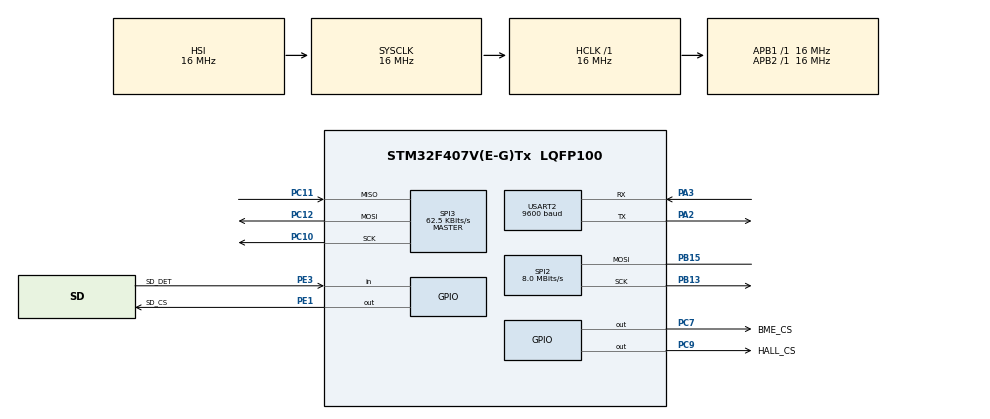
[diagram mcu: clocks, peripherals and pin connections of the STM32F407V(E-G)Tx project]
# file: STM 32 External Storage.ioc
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Mcu.Family=STM32F4
Mcu.Name=STM32F407V(E-G)Tx
Mcu.Package=LQFP100
NVIC.PriorityGroup=NVIC_PRIORITYGROUP_4
PA2.Mode=Asynchronous
PA2.Signal=USART2_TX
PA3.Mode=Asynchronous
PA3.Signal=USART2_RX
PB13.Mode=Simplex_Bidirectional_Master
PB13.Signal=SPI2_SCK
PB15.Mode=Simplex_Bidirectional_Master
PB15.Signal=SPI2_MOSI
PC10.Mode=Full_Duplex_Master
PC10.Signal=SPI3_SCK
PC11.Mode=Full_Duplex_Master
PC11.Signal=SPI3_MISO
PC12.Mode=Full_Duplex_Master
PC12.Signal=SPI3_MOSI
PC7.GPIO_Label=BME_CS
PC7.Signal=GPIO_Output
PC9.GPIO_Label=HALL_CS
PC9.Signal=GPIO_Output
PE1.GPIO_Label=SD_CS
PE1.GPIO_PuPd=GPIO_NOPULL
PE1.Signal=GPIO_Output
PE3.GPIO_Label=SD_DET
PE3.Signal=GPIO_Input
ProjectManager.HeapSize=0x200
ProjectManager.StackSize=0x400
ProjectManager.TargetToolchain=STM32CubeIDE
RCC.AHBFreq_Value=16000000
RCC.APB1Freq_Value=16000000
RCC.APB2Freq_Value=16000000
RCC.CortexFreq_Value=16000000
RCC.HSE_VALUE=25000000
RCC.HSI_VALUE=16000000
RCC.LSE_VALUE=32768
RCC.SYSCLKFreq_VALUE=16000000
RCC.VCOOutputFreq_Value=192000000
RTC.Date=1
RTC.Hours=0
RTC.Minutes=0
RTC.Month=RTC_MONTH_JANUARY
RTC.WeekDay=RTC_WEEKDAY_MONDAY
RTC.Year=0
SPI2.CalculateBaudRate=8.0 MBits/s
SPI2.Direction=SPI_DIRECTION_1LINE
SPI2.Mode=SPI_MODE_MASTER
SPI2.VirtualType=VM_MASTER
SPI3.BaudRatePrescaler=SPI_BAUDRATEPRESCALER_256
SPI3.CLKPhase=SPI_PHASE_1EDGE
SPI3.CLKPolarity=SPI_POLARITY_LOW
SPI3.CalculateBaudRate=62.5 KBits/s
SPI3.DataSize=SPI_DATASIZE_8BIT
SPI3.Direction=SPI_DIRECTION_2LINES
SPI3.Mode=SPI_MODE_MASTER
SPI3.VirtualType=VM_MASTER
USART2.BaudRate=9600
USART2.VirtualMode=VM_ASYNC
VP_FATFS_VS_Generic.Mode=User_defined
VP_RTC_VS_RTC_Activate.Mode=RTC_Enabled
VP_RTC_VS_RTC_Calendar.Mode=RTC_Calendar
board=custom

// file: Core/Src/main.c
/* USER CODE BEGIN Header */
/**
  ******************************************************************************
  * @file           : main.c
  * @brief          : Main program body
  ******************************************************************************
  * @attention
  *
  * <h2><center>&copy; Copyright (c) 2021 STMicroelectronics.
  * All rights reserved.</center></h2>
  *
  * This software component is licensed by ST under BSD 3-Clause license,
  * the "License"; You may not use this file except in compliance with the
  * License. You may obtain a copy of the License at:
  *                        opensource.org/licenses/BSD-3-Clause
  *
  ******************************************************************************
  */
/* USER CODE END Header */
#include "main.h"
#include "fatfs.h"

/* USER CODE BEGIN Includes */
#include <stdio.h>
#include <string.h>
#include <stdarg.h>
#include "sd.h"
#include "rtc.h"
#include "hall.h"
#include "bme.h"
/* USER CODE END Includes */

RTC_HandleTypeDef hrtc;

SPI_HandleTypeDef hspi2;
SPI_HandleTypeDef hspi3;

UART_HandleTypeDef huart2;

/* USER CODE BEGIN PV */
uint8_t alarm = 0;
static uint32_t last_second = 0;
/* USER CODE END PV */

void SystemClock_Config(void);
static void MX_GPIO_Init(void);
static void MX_USART2_UART_Init(void);
static void MX_SPI3_Init(void);
static void MX_RTC_Init(void);
static void MX_SPI2_Init(void);

/* USER CODE BEGIN 0 */
void myprintf(const char *fmt, ...) {
  static char buffer[256];
  va_list args;
  va_start(args, fmt);
  vsnprintf(buffer, sizeof(buffer), fmt, args);
  va_end(args);

  int len = strlen(buffer);
  HAL_UART_Transmit(&huart2, (uint8_t*)buffer, len, -1);
}

void todo_on_alarm(RTC_HandleTypeDef *hrtc, RTC_TimeTypeDef* time, uint16_t hall_data, float temp){
    FATFS FatFs;
    SD_mount(&FatFs);
    char buf[256] = "%02d:%02d:%02d, %d, %.2f\n";
    char buf2[256];
    sprintf(buf2, buf, time->Hours, time->Minutes, time->Seconds, hall_data, temp);
    myprintf("hall: %d | temp: %.2f  ", hall_data, temp);
    int btw = strlen(buf2);
    SD_write("data.csv", FA_READ | FA_WRITE | FA_OPEN_APPEND, buf2, btw);
    SD_unmount();
}

/* USER CODE END 0 */

int main(void)
{

  /* MCU Configuration--------------------------------------------------------*/

  /* Reset of all peripherals, Initializes the Flash interface and the Systick. */
  HAL_Init();

  /* Configure the system clock */
  SystemClock_Config();

  /* Initialize all configured peripherals */
  MX_GPIO_Init();
  MX_FATFS_Init();
  MX_USART2_UART_Init();
  MX_SPI3_Init();
  MX_RTC_Init();
  MX_SPI2_Init();
  /* USER CODE BEGIN 2 */

  HAL_Delay(200);
  BME_init(&hspi3);
  FATFS FatFs;
  SD_mount(&FatFs);

  // Write header
  char buf[256] = "Time, Angle, Temperature\n";
  int btw = strlen(buf);
  UINT bytesWrote;
  bytesWrote = SD_write("data.csv", FA_READ | FA_WRITE | FA_OPEN_ALWAYS | FA_CREATE_ALWAYS, buf, btw);
  myprintf("Wrote %i bytes to 'data.csv'!\r\n", bytesWrote);

  SD_unmount();

  // reset timer to 0
  if(HAL_RTCEx_BKUPRead(&hrtc, RTC_BKP_DR1) != 0x0000){
    rtc_set_time(&hrtc);
  }
  /* USER CODE END 2 */

  /* Infinite loop */
  while (1)
  {

    /* USER CODE BEGIN 3 */
    // uint16_t hall_data;
    // HALL_read(&hspi2, &hall_data);
    // hall_data = hall_data/182;
    // myprintf("data: %d", hall_data);
    // HAL_Delay(500);

    // float temp;
    // temp = BME_readTemperature(&hspi3);
    // myprintf("%.2f   ", temp);
    // HAL_Delay(1000);

    RTC_TimeTypeDef myTime;
    RTC_DateTypeDef myDate;
    rtc_get_time(&hrtc, &myDate, &myTime);
    uint16_t hall_data;
    float temp = 0.0;
    // HAL_Delay(200);
    uint32_t current_second = HAL_GetTick();
    if (current_second - last_second > 1000){
        // 1 second has elapsed, log stuff
        HALL_read(&hspi2, &hall_data);
        hall_data = hall_data/182;
        temp = BME_readTemperature(&hspi3);
        todo_on_alarm(&hrtc, &myTime, hall_data, temp);
        last_second = current_second;
    }
  }
  /* USER CODE END 3 */
}

void SystemClock_Config(void)
{
  RCC_OscInitTypeDef RCC_OscInitStruct = {0};
  RCC_ClkInitTypeDef RCC_ClkInitStruct = {0};

  /** Configure the main internal regulator output voltage
  */
  __HAL_RCC_PWR_CLK_ENABLE();
  __HAL_PWR_VOLTAGESCALING_CONFIG(PWR_REGULATOR_VOLTAGE_SCALE1);
  /** Initializes the RCC Oscillators according to the specified parameters
  * in the RCC_OscInitTypeDef structure.
  */
  RCC_OscInitStruct.OscillatorType = RCC_OSCILLATORTYPE_HSI|RCC_OSCILLATORTYPE_LSI;
  RCC_OscInitStruct.HSIState = RCC_HSI_ON;
  RCC_OscInitStruct.HSICalibrationValue = RCC_HSICALIBRATION_DEFAULT;
  RCC_OscInitStruct.LSIState = RCC_LSI_ON;
  RCC_OscInitStruct.PLL.PLLState = RCC_PLL_NONE;
  if (HAL_RCC_OscConfig(&RCC_OscInitStruct) != HAL_OK)
  {
    Error_Handler();
  }
  /** Initializes the CPU, AHB and APB buses clocks
  */
  RCC_ClkInitStruct.ClockType = RCC_CLOCKTYPE_HCLK|RCC_CLOCKTYPE_SYSCLK
                              |RCC_CLOCKTYPE_PCLK1|RCC_CLOCKTYPE_PCLK2;
  RCC_ClkInitStruct.SYSCLKSource = RCC_SYSCLKSOURCE_HSI;
  RCC_ClkInitStruct.AHBCLKDivider = RCC_SYSCLK_DIV1;
  RCC_ClkInitStruct.APB1CLKDivider = RCC_HCLK_DIV1;
  RCC_ClkInitStruct.APB2CLKDivider = RCC_HCLK_DIV1;

  if (HAL_RCC_ClockConfig(&RCC_ClkInitStruct, FLASH_LATENCY_0) != HAL_OK)
  {
    Error_Handler();
  }
}

static void MX_RTC_Init(void)
{

  RTC_TimeTypeDef sTime = {0};
  RTC_DateTypeDef sDate = {0};

  /** Initialize RTC Only
  */
  hrtc.Instance = RTC;
  hrtc.Init.HourFormat = RTC_HOURFORMAT_24;
  hrtc.Init.AsynchPrediv = 127;
  hrtc.Init.SynchPrediv = 255;
  hrtc.Init.OutPut = RTC_OUTPUT_DISABLE;
  hrtc.Init.OutPutPolarity = RTC_OUTPUT_POLARITY_HIGH;
  hrtc.Init.OutPutType = RTC_OUTPUT_TYPE_OPENDRAIN;
  if (HAL_RTC_Init(&hrtc) != HAL_OK)
  {
    Error_Handler();
  }

  /** Initialize RTC and set the Time and Date
  */
  sTime.Hours = 0x0;
  sTime.Minutes = 0x0;
  sTime.Seconds = 0x0;
  sTime.DayLightSaving = RTC_DAYLIGHTSAVING_NONE;
  sTime.StoreOperation = RTC_STOREOPERATION_RESET;
  if (HAL_RTC_SetTime(&hrtc, &sTime, RTC_FORMAT_BCD) != HAL_OK)
  {
    Error_Handler();
  }
  sDate.WeekDay = RTC_WEEKDAY_MONDAY;
  sDate.Month = RTC_MONTH_JANUARY;
  sDate.Date = 0x1;
  sDate.Year = 0x0;

  if (HAL_RTC_SetDate(&hrtc, &sDate, RTC_FORMAT_BCD) != HAL_OK)
  {
    Error_Handler();
  }
  /* USER CODE BEGIN RTC_Init 2 */
  HAL_RTCEx_BKUPWrite(&hrtc, RTC_BKP_DR1, 0x32F2); // backup register
  /* USER CODE END RTC_Init 2 */

}

static void MX_SPI2_Init(void)
{

  /* SPI2 parameter configuration*/
  hspi2.Instance = SPI2;
  hspi2.Init.Mode = SPI_MODE_MASTER;
  hspi2.Init.Direction = SPI_DIRECTION_1LINE;
  hspi2.Init.DataSize = SPI_DATASIZE_8BIT;
  hspi2.Init.CLKPolarity = SPI_POLARITY_LOW;
  hspi2.Init.CLKPhase = SPI_PHASE_1EDGE;
  hspi2.Init.NSS = SPI_NSS_SOFT;
  hspi2.Init.BaudRatePrescaler = SPI_BAUDRATEPRESCALER_2;
  hspi2.Init.FirstBit = SPI_FIRSTBIT_MSB;
  hspi2.Init.TIMode = SPI_TIMODE_DISABLE;
  hspi2.Init.CRCCalculation = SPI_CRCCALCULATION_DISABLE;
  hspi2.Init.CRCPolynomial = 10;
  if (HAL_SPI_Init(&hspi2) != HAL_OK)
  {
    Error_Handler();
  }

}

static void MX_SPI3_Init(void)
{

  /* SPI3 parameter configuration*/
  hspi3.Instance = SPI3;
  hspi3.Init.Mode = SPI_MODE_MASTER;
  hspi3.Init.Direction = SPI_DIRECTION_2LINES;
  hspi3.Init.DataSize = SPI_DATASIZE_8BIT;
  hspi3.Init.CLKPolarity = SPI_POLARITY_LOW;
  hspi3.Init.CLKPhase = SPI_PHASE_1EDGE;
  hspi3.Init.NSS = SPI_NSS_SOFT;
  hspi3.Init.BaudRatePrescaler = SPI_BAUDRATEPRESCALER_256;
  hspi3.Init.FirstBit = SPI_FIRSTBIT_MSB;
  hspi3.Init.TIMode = SPI_TIMODE_DISABLE;
  hspi3.Init.CRCCalculation = SPI_CRCCALCULATION_DISABLE;
  hspi3.Init.CRCPolynomial = 10;
  if (HAL_SPI_Init(&hspi3) != HAL_OK)
  {
    Error_Handler();
  }

}

static void MX_USART2_UART_Init(void)
{

  huart2.Instance = USART2;
  huart2.Init.BaudRate = 9600;
  huart2.Init.WordLength = UART_WORDLENGTH_8B;
  huart2.Init.StopBits = UART_STOPBITS_1;
  huart2.Init.Parity = UART_PARITY_NONE;
  huart2.Init.Mode = UART_MODE_TX_RX;
  huart2.Init.HwFlowCtl = UART_HWCONTROL_NONE;
  huart2.Init.OverSampling = UART_OVERSAMPLING_16;
  if (HAL_UART_Init(&huart2) != HAL_OK)
  {
    Error_Handler();
  }

}

static void MX_GPIO_Init(void)
{
  GPIO_InitTypeDef GPIO_InitStruct = {0};

  /* GPIO Ports Clock Enable */
  __HAL_RCC_GPIOE_CLK_ENABLE();
  __HAL_RCC_GPIOA_CLK_ENABLE();
  __HAL_RCC_GPIOB_CLK_ENABLE();
  __HAL_RCC_GPIOC_CLK_ENABLE();

  /*Configure GPIO pin Output Level */
  HAL_GPIO_WritePin(GPIOC, BME_CS_Pin|HALL_CS_Pin, GPIO_PIN_RESET);

  /*Configure GPIO pin Output Level */
  HAL_GPIO_WritePin(SD_CS_GPIO_Port, SD_CS_Pin, GPIO_PIN_RESET);

  /*Configure GPIO pin : SD_DET_Pin */
  GPIO_InitStruct.Pin = SD_DET_Pin;
  GPIO_InitStruct.Mode = GPIO_MODE_INPUT;
  GPIO_InitStruct.Pull = GPIO_NOPULL;
  HAL_GPIO_Init(SD_DET_GPIO_Port, &GPIO_InitStruct);

  /*Configure GPIO pins : BME_CS_Pin HALL_CS_Pin */
  GPIO_InitStruct.Pin = BME_CS_Pin|HALL_CS_Pin;
  GPIO_InitStruct.Mode = GPIO_MODE_OUTPUT_PP;
  GPIO_InitStruct.Pull = GPIO_NOPULL;
  GPIO_InitStruct.Speed = GPIO_SPEED_FREQ_LOW;
  HAL_GPIO_Init(GPIOC, &GPIO_InitStruct);

  /*Configure GPIO pin : SD_CS_Pin */
  GPIO_InitStruct.Pin = SD_CS_Pin;
  GPIO_InitStruct.Mode = GPIO_MODE_OUTPUT_PP;
  GPIO_InitStruct.Pull = GPIO_NOPULL;
  GPIO_InitStruct.Speed = GPIO_SPEED_FREQ_LOW;
  HAL_GPIO_Init(SD_CS_GPIO_Port, &GPIO_InitStruct);

}

void Error_Handler(void)
{
  __disable_irq();
  while (1)
  {
  }
}

/************************ (C) COPYRIGHT STMicroelectronics *****END OF FILE****/
